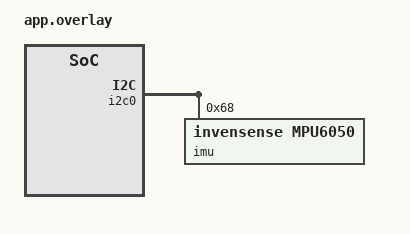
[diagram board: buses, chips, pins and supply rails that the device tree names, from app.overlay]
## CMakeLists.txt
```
#pico-zephyr-project
#-------------------------------------------------------------------------------
# Zephyr Example Application
#
# Copyright (c) 2021 Nordic Semiconductor ASA
# SPDX-License-Identifier: Apache-2.0
#-------------------------------------------------------------------------------
# NOTE: Please do not remove the #pico-zephyr-project header, it is used by
# the Raspberry Pi Pico VS Code extension to identify the project type.
#-------------------------------------------------------------------------------

cmake_minimum_required(VERSION 3.20.0)

find_package(Zephyr REQUIRED HINTS $ENV{ZEPHYR_BASE})
project(Rpi_Zephyr LANGUAGES C)

target_sources(app PRIVATE src/main.c)
add_subdirectory(lib/wifi)
add_subdirectory(lib/wifi_api)
add_subdirectory(lib/mpu6050)
add_subdirectory(lib/imu_rotation)
```

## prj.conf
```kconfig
# Logging (global defaults)
CONFIG_LOG=y
CONFIG_LOG_PRINTK=y
CONFIG_LOG_DEFAULT_LEVEL=3

# Export thread information for OpenOCD's Zephyr RTOS support.
CONFIG_DEBUG_THREAD_INFO=y
CONFIG_THREAD_NAME=y

# Internal CPU temperature sensor (uses the on-chip ADC).
CONFIG_SENSOR=y
CONFIG_RPI_PICO_TEMP=y

# External MPU6050, polled through lib/mpu6050.
CONFIG_I2C=y
CONFIG_MPU6050=y
CONFIG_MPU6050_TRIGGER_NONE=y

CONFIG_WIFI=y
CONFIG_NETWORKING=y
CONFIG_NET_IPV4=y
CONFIG_NET_IPV6=n
CONFIG_NET_DHCPV4=y
CONFIG_NET_TCP=y
CONFIG_NET_UDP=y
CONFIG_NET_SOCKETS=y
CONFIG_NET_CONTEXT_SNDTIMEO=y
CONFIG_NET_CONTEXT_RCVTIMEO=y
CONFIG_DNS_RESOLVER=y
CONFIG_NET_MGMT=y
CONFIG_NET_MGMT_EVENT=y
CONFIG_NET_MGMT_EVENT_INFO=y
CONFIG_MAIN_STACK_SIZE=5200
CONFIG_NET_TX_STACK_SIZE=2048
CONFIG_NET_RX_STACK_SIZE=2048
CONFIG_NET_PKT_RX_COUNT=10
CONFIG_NET_PKT_TX_COUNT=10
CONFIG_NET_BUF_RX_COUNT=20
CONFIG_NET_BUF_TX_COUNT=20
```

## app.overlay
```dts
/ {
    aliases {
        mpu6050 = &imu;
    };
};

/* Pico 2 W board defaults: SDA GP4, SCL GP5. */
&i2c0 {
    status = "okay";

    imu: mpu6050@68 {
        compatible = "invensense,mpu6050";
        reg = <0x68>;
        accel-fs = <2>;
        gyro-fs = <250>;
        status = "okay";
    };
};
```

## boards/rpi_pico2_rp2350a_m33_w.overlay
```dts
/ {
    leds {
        compatible = "gpio-leds";

        led0: led_0 {
            gpios = <&cyw43_gpio 0 GPIO_ACTIVE_HIGH>;
            label = "Onboard LED";
        };
    };

    aliases {
        led0 = &led0;
    };
};
```

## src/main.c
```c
#include <zephyr/kernel.h>
#include <zephyr/device.h>
#include <zephyr/drivers/sensor.h>
#include <zephyr/logging/log.h>
#include <wifi_connection.h>
#include <wifi_api_server.h>
#include <mpu6050.h>
#include <mpu6050_rotation.h>
#include <imu_orientation.h>
#include <math.h>
#include <stdio.h>
#include <errno.h>
#include "wifi_credentials.h"

LOG_MODULE_REGISTER(main, CONFIG_LOG_DEFAULT_LEVEL);

/* Sensor-to-output mounting rotation, in degrees around fixed X, Y, then Z. */
static const float MOTION_ROTATION_DEGREES[3] = {0.0f, 0.0f, 0.0f};

/**
 * @brief Write a JSON response confirming API availability.
 * @param body Output buffer with capacity bytes of storage.
 * @param capacity Buffer capacity, including the null terminator.
 * @param user_data Unused handler context.
 * @return Required byte count excluding the null terminator, or a negative formatting error.
 */
static int health_handler(char *body, size_t capacity, void *user_data)
{
    ARG_UNUSED(user_data);
    return snprintf(body, capacity, "{\"status\":\"ok\"}");
}

/**
 * @brief Write a JSON response containing device uptime in seconds.
 * @param body Output buffer with capacity bytes of storage.
 * @param capacity Buffer capacity, including the null terminator.
 * @param user_data Unused handler context.
 * @return Required byte count excluding the null terminator, or a negative formatting error.
 */
static int uptime_handler(char *body, size_t capacity, void *user_data)
{
    ARG_UNUSED(user_data);
    return snprintf(body, capacity, "{\"uptime_seconds\":%lld}",
                    (long long)(k_uptime_get() / 1000));
}

/**
 * @brief Read the chip temperature and write a JSON response in degrees Celsius.
 * @param body Output buffer with capacity bytes of storage.
 * @param capacity Buffer capacity, including the null terminator.
 * @param user_data Unused handler context.
 * @return Required byte count excluding the null terminator, or a negative error code.
 */
static int temperature_handler(char *body, size_t capacity, void *user_data)
{
    ARG_UNUSED(user_data);
    const struct device *sensor = DEVICE_DT_GET(DT_NODELABEL(die_temp));
    struct sensor_value temperature;

    if (!device_is_ready(sensor)) {
        LOG_ERR("Internal temperature sensor is not ready");
        return -ENODEV;
    }

    int ret = sensor_sample_fetch_chan(sensor, SENSOR_CHAN_DIE_TEMP);
    if (ret == 0) {
        ret = sensor_channel_get(sensor, SENSOR_CHAN_DIE_TEMP, &temperature);
    }
    if (ret < 0) {
        LOG_ERR("Temperature read failed (%d)", ret);
        return ret;
    }

    /* Format fixed-point Celsius without enabling floating-point printf.
     * Apply the sign separately so temperatures between -1 and 0 work too.
     */
    int64_t milli_celsius = sensor_value_to_milli(&temperature);
    const char *sign = milli_celsius < 0 ? "-" : "";
    if (milli_celsius < 0) {
        milli_celsius = -milli_celsius;
    }
    return snprintf(body, capacity, "{\"temperature_celsius\":%s%lld.%03lld}",
                    sign, (long long)(milli_celsius / 1000),
                    (long long)(milli_celsius % 1000));
}

static const struct WifiApiRoute API_ROUTES[] = {
    { .path = "/api/health", .handler = health_handler },
    { .path = "/api/uptime", .handler = uptime_handler },
    { .path = "/api/temperature", .handler = temperature_handler },
};

/**
 * @brief Run the HTTP API on port 8080 and wait 10 seconds before restarting after a failure.
 * @param arg1 Unused thread argument.
 * @param arg2 Unused thread argument.
 * @param arg3 Unused thread argument.
 * @note The thread runs indefinitely.
 */
static void api_task(void *arg1, void *arg2, void *arg3)
{
    ARG_UNUSED(arg1);
    ARG_UNUSED(arg2);
    ARG_UNUSED(arg3);
    while (true) {
        int ret = wifi_api_server_run(8080, API_ROUTES, ARRAY_SIZE(API_ROUTES));
        LOG_ERR("API server stopped (%d); retrying in 10 seconds", ret);
        k_sleep(K_SECONDS(10));
    }
}

/**
 * @brief Start Wi-Fi connection management using the application credentials.
 * @param arg1 Unused thread argument.
 * @param arg2 Unused thread argument.
 * @param arg3 Unused thread argument.
 */
static void wifi_task(void *arg1, void *arg2, void *arg3)
{
    ARG_UNUSED(arg1);
    ARG_UNUSED(arg2);
    ARG_UNUSED(arg3);

    int ret = wifi_run(APP_WIFI_SSID, APP_WIFI_PASSWORD);
    LOG_INF("Wi-Fi task finished (%d)", ret);
}

/**
 * @brief Log device uptime once per second.
 * @param arg1 Unused thread argument.
 * @param arg2 Unused thread argument.
 * @param arg3 Unused thread argument.
 * @note The thread runs indefinitely.
 */
static void console_task(void *arg1, void *arg2, void *arg3)
{
    ARG_UNUSED(arg1);
    ARG_UNUSED(arg2);
    ARG_UNUSED(arg3);

    while (true) {
        LOG_INF(" Uptime %lld seconds",
                (long long)(k_uptime_get() / 1000));
        k_sleep(K_SECONDS(1));
    }
}

/** @brief Estimate and log X/Y/Z orientation in degrees at 10 Hz. */
static void motion_task(void *arg1, void *arg2, void *arg3)
{
    ARG_UNUSED(arg1);
    ARG_UNUSED(arg2);
    ARG_UNUSED(arg3);

    ImuRotation rotation;
    const float radians_per_degree = 0.01745329252f;
    int ret = imu_rotation_init(&rotation,
                                MOTION_ROTATION_DEGREES[0] * radians_per_degree,
                                MOTION_ROTATION_DEGREES[1] * radians_per_degree,
                                MOTION_ROTATION_DEGREES[2] * radians_per_degree);
    if (ret < 0) {
        LOG_ERR("Invalid motion rotation (%d)", ret);
        return;
    }
    ret = app_mpu6050_init();
    if (ret < 0) {
        LOG_ERR("MPU6050 unavailable (%d); check wiring and reboot", ret);
        return;
    }

    ImuOrientation orientation = {0};
    int64_t previous_ms = 0;
    while (true) {
        Mpu6050Sample sample;
        ret = app_mpu6050_read(&sample);
        if (ret == 0) {
            ret = mpu6050_rotation_apply(&rotation, &sample, &sample);
        }
        if (ret < 0) {
            LOG_ERR("MPU6050 read/rotation failed (%d)", ret);
            k_sleep(K_SECONDS(1));
            continue;
        }

        int64_t now_ms = k_uptime_get();
        float dt = previous_ms == 0 ? 0.1f : (now_ms - previous_ms) / 1000.0f;
        previous_ms = now_ms;
        if (dt <= 0.0f || dt > 0.5f) {
            /* Do not integrate a stale sample across a read failure/debug pause. */
            k_sleep(K_MSEC(100));
            continue;
        }
        ImuMotion motion;
        for (int axis = 0; axis < 3; ++axis) {
            motion.acceleration[axis] =
                (float)sensor_value_to_double(&sample.acceleration[axis]);
            motion.angular_velocity[axis] =
                (float)sensor_value_to_double(&sample.angular_velocity[axis]);
        }
        float degrees[3];
        ret = imu_orientation_update(&orientation, &motion, dt, degrees);
        if (ret == 0) {
            LOG_INF("X: %d, Y: %d, Z: %d [deg]",
                    (int)lroundf(degrees[0]), (int)lroundf(degrees[1]),
                    (int)lroundf(degrees[2]));
        } else {
            LOG_WRN("Orientation unavailable (%d); keep sensor still", ret);
        }
        k_sleep(K_MSEC(100));
    }
}

/* Lower numeric priority runs first. Tasks sleep or wait between work. */
K_THREAD_DEFINE(wifi_task_id, 5200, wifi_task,
                NULL, NULL, NULL, 5, 0, SYS_FOREVER_MS);
K_THREAD_DEFINE(console_task_id, 1024, console_task,
                NULL, NULL, NULL, 7, 0, SYS_FOREVER_MS);
K_THREAD_DEFINE(api_task_id, 4096, api_task,
                NULL, NULL, NULL, 6, 0, SYS_FOREVER_MS);
K_THREAD_DEFINE(motion_task_id, 2048, motion_task,
                NULL, NULL, NULL, 7, 0, SYS_FOREVER_MS);

/**
 * @brief Name and start the Wi-Fi, console, HTTP API, and motion threads.
 * @return Always 0 after starting the threads.
 */
int main(void)
{
    k_thread_name_set(wifi_task_id, "wifi");
    k_thread_name_set(console_task_id, "console");
    k_thread_name_set(api_task_id, "wifi_api");
    k_thread_name_set(motion_task_id, "motion");
    k_thread_start(wifi_task_id);
    k_thread_start(console_task_id);
    k_thread_start(api_task_id);
    k_thread_start(motion_task_id);
    return 0;
}
```

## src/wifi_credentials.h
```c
#pragma once

/* Set your 2.4 GHz WPA2-Personal network in the Git-ignored local header.
 * Rebuild after editing. Empty SSID disables connection.
 */
#include "wifi_env.h"
```
